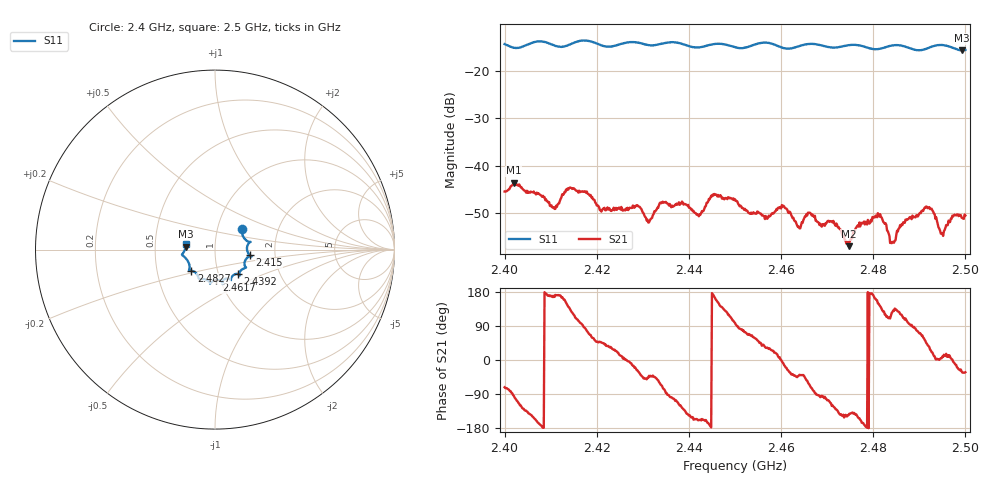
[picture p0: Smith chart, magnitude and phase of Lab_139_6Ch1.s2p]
# Hz S RI R 50
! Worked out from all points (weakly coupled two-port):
!   601 points, 2.4 GHz to 2.5 GHz, reference 50 ohm
!   highest |S21| = -43.61 dB at 2.402 GHz (marker M1); lowest = -57.0 dB at 2.4747 GHz (marker M2)
!   lowest |S11| = -15.7 dB at 2.4992 GHz (marker M3), VSWR 1.39, Z = 36 + j1.21 ohm
!   |S11| at or under -10 dB: start of sweep to end of sweep
!   S12 and S22 are empty: the file has one direction only
!   S11 on the Smith chart (normalised r, x): 2.4 GHz: 1.31, +0.31; 2.415 GHz: 1.48, -0.10; 2.4392 GHz: 1.24, -0.35; 2.4617 GHz: 0.96, -0.34; 2.4827 GHz: 0.75, -0.18; 2.5 GHz: 0.72, +0.05
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2.4e9  0.1513 0.1153  0.00166 -0.00508  0 0  0 0
2.402e9  0.153 0.0828  -0.000522 -0.00658  0 0  0 0
2.410833e9  0.1821 0.0246  -0.0034 0.00082  0 0  0 0
2.415e9  0.1933 -0.0318  -0.00284 0.00504  0 0  0 0
2.416667e9  0.2036 -0.0384  -0.000541 0.00529  0 0  0 0
2.431167e9  0.1485 -0.1115  0.0017 -0.00185  0 0  0 0
2.433333e9  0.1364 -0.1302  0.00213 -0.0029  0 0  0 0
2.439167e9  0.1282 -0.1356  -0.00276 -0.0028  0 0  0 0
2.442167e9  0.0997 -0.1447  -0.00272 -0.00108  0 0  0 0
2.445333e9  0.0883 -0.1683  -0.00479 0.000771  0 0  0 0
2.45e9  0.0711 -0.1614  -0.000619 0.00438  0 0  0 0
2.461667e9  0.00801 -0.1699  0.00275 -0.00158  0 0  0 0
2.463833e9  -0.0189 -0.1795  0.00171 -0.00151  0 0  0 0
2.466667e9  -0.027 -0.1895  0.00081 -0.00287  0 0  0 0
2.474667e9  -0.0839 -0.1653  -0.00117 -0.000806  0 0  0 0
2.4805e9  -0.109 -0.1276  -0.00282 0.000938  0 0  0 0
2.482667e9  -0.1318 -0.1174  -0.00123 0.00215  0 0  0 0
2.483333e9  -0.1376 -0.117  -0.000674 0.00182  0 0  0 0
2.491667e9  -0.1646 -0.0464  0.00271 0.00249  0 0  0 0
2.494833e9  -0.1841 -0.0278  0.0019 0.000149  0 0  0 0
2.499167e9  -0.1628 0.0163  0.00246 -0.0014  0 0  0 0
2.5e9  -0.1619 0.0315  0.00253 -0.00159  0 0  0 0
